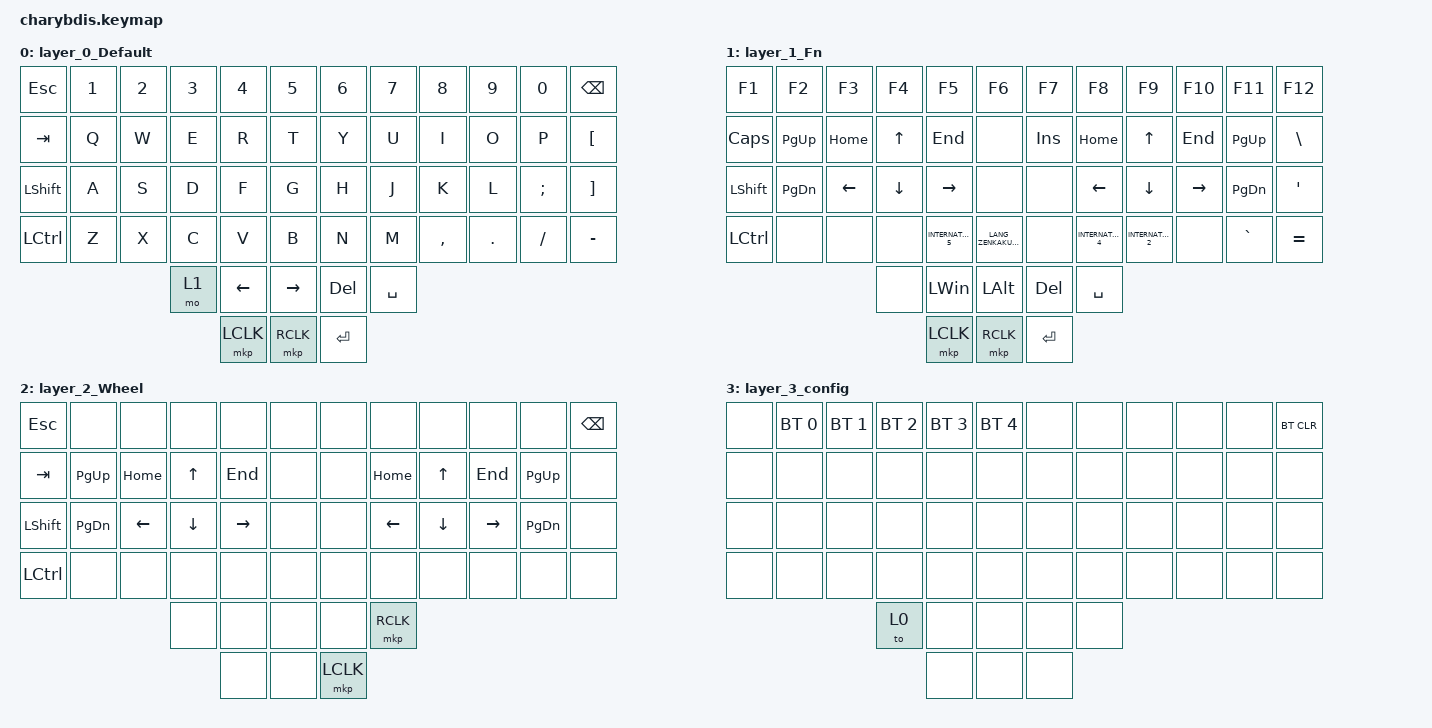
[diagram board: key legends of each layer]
#include <dt-bindings/zmk/mouse.h>
#include <behaviors.dtsi>
#include <dt-bindings/zmk/bt.h>
#include <dt-bindings/zmk/keys.h>
#include <dt-bindings/zmk/pointing.h>

&lt {
    tapping-term-ms = <200>;
    flavor = "balanced";
    quick-tap-ms = <150>;
};

/ {
    combos {
        compatible = "zmk,combos";

        delete {
            bindings = <&kp DELETE>;
            key-positions = <24 11>;
        };

        layer3 {
            bindings = <&tog 3>;
            key-positions = <48 49 50>;
        };

        layer0 {
            bindings = <&to 0>;
            key-positions = <51 52>;
        };
    };

    keymap {
        compatible = "zmk,keymap";

        layer_0_Default {
            bindings = <
&kp ESC         &kp N1  &kp N2  &kp N3  &kp N4     &kp N5       &kp N6      &kp N7     &kp N8     &kp N9      &kp N0    &kp BACKSPACE
&kp TAB         &kp Q   &kp W   &kp E   &kp R      &kp T        &kp Y       &kp U      &kp I      &kp O       &kp P     &kp LEFT_BRACKET
&kp LEFT_SHIFT  &kp A   &kp S   &kp D   &kp F      &kp G        &kp H       &kp J      &kp K      &kp L       &kp SEMI  &kp RIGHT_BRACKET
&kp LCTRL       &kp Z   &kp X   &kp C   &kp V      &kp B        &kp N       &kp M      &kp COMMA  &kp PERIOD  &kp FSLH  &kp MINUS
                                &mo 1   &kp LEFT   &kp RIGHT    &kp DELETE  &kp SPACE
                                        &mkp LCLK  &mkp RCLK    &kp ENTER
            >;

            trackball-bindings = <&tmv_coarse>;
        };

        layer_1_Fn {
            bindings = <
&kp F1          &kp F2         &kp F3          &kp F4          &kp F5               &kp F6                     &kp F7      &kp F8               &kp F9               &kp F10          &kp F11        &kp F12
&kp CAPS        &kp PAGE_UP    &kp HOME        &kp UP_ARROW    &kp END              &none                      &kp INSERT  &kp HOME             &kp UP_ARROW         &kp END          &kp PAGE_UP    &kp BACKSLASH
&kp LEFT_SHIFT  &kp PAGE_DOWN  &kp LEFT_ARROW  &kp DOWN_ARROW  &kp RIGHT_ARROW      &none                      &none       &kp LEFT_ARROW       &kp DOWN_ARROW       &kp RIGHT_ARROW  &kp PAGE_DOWN  &kp SINGLE_QUOTE
&kp LCTRL       &none          &none           &none           &kp INTERNATIONAL_5  &kp LANG_ZENKAKUHANKAKU    &none       &kp INTERNATIONAL_4  &kp INTERNATIONAL_2  &none            &kp GRAVE      &kp EQUAL
                                               &none           &kp LEFT_WIN         &kp LEFT_ALT               &kp DELETE  &kp SPACE
                                                               &mkp LCLK            &mkp RCLK                  &kp ENTER
            >;

            trackball-bindings = <&tsl>;
        };

        layer_2_Wheel {
            bindings = <
&kp ESCAPE        &none          &none           &none           &none            &none    &none      &none           &none           &none            &none          &kp BACKSPACE
&kp TAB           &kp PAGE_UP    &kp HOME        &kp UP_ARROW    &kp END          &none    &none      &kp HOME        &kp UP_ARROW    &kp END          &kp PAGE_UP    &none
&kp LEFT_SHIFT    &kp PAGE_DOWN  &kp LEFT_ARROW  &kp DOWN_ARROW  &kp RIGHT_ARROW  &none    &none      &kp LEFT_ARROW  &kp DOWN_ARROW  &kp RIGHT_ARROW  &kp PAGE_DOWN  &none
&kp LEFT_CONTROL  &none          &none           &none           &none            &none    &none      &none           &none           &none            &none          &none
                                                 &none           &none            &none    &none      &mkp RCLK
                                                                 &none            &none    &mkp LCLK
            >;

            trackball-bindings = <&tsl>;
        };

        layer_3_config {
            bindings = <
&none  &bt BT_SEL 0  &bt BT_SEL 1  &bt BT_SEL 2  &bt BT_SEL 3  &bt BT_SEL 4    &none  &none  &none  &none  &none  &bt BT_CLR
&none  &none         &none         &none         &none         &none           &none  &none  &none  &none  &none  &none
&none  &none         &none         &none         &none         &none           &none  &none  &none  &none  &none  &none
&none  &none         &none         &none         &none         &none           &none  &none  &none  &none  &none  &none
                                   &to 0         &none         &none           &none  &none
                                                 &none         &none           &none
            >;
        };

        /* layer_2 {
            bindings = <
&none  &none   &none    &none   &none         &none         &kp N1         &none         &none     &none  &none   &to 0
&none  &none   &none    &none   &none         &none         &none         &none          &rgb_ug RGB_BRD &rgb_ug RGB_BRI  &rgb_ug RGB_EFF   &rgb_ug RGB_TOG
&none  &none   &none    &none   &none         &none         &none         &mkp LCLK     &mkp RCLK  &none  &none   &none
&none  &none   &none    &none   &bt BT_NXT  &bt BT_CLR    &none         &none         &none     &none  &none   &none
                                   &none         &none         &none         &none         &none
                                                 &none         &none         &none
            >;
          trackball-bindings = <&tsl>;
            
        };

       Mouse {
            bindings = <
&none        &none         &none         &none         &none      &none         &none       &none      &none         &none         &none         &none
&none        &bt BT_SEL 0  &bt BT_SEL 1  &bt BT_SEL 3  &none      &bt BT_CLR    &bt BT_CLR  &none      &bt BT_SEL 2  &bt BT_SEL 1  &bt BT_SEL 0  &none
&none        &trans        &trans        &mkp MCLK     &trans     &none         &none       &trans     &mkp MCLK     &trans        &trans        &none
&bootloader  &trans        &mkp RCLK     &mo 4         &mkp LCLK  &mo 5         &mo 5       &mkp LCLK  &mo 4         &mkp RCLK     &trans        &bootloader
                                         &mo 5         &mkp LCLK  &mkp RCLK     &mkp RCLK   &mkp LCLK
                                                       &none      &trans        &trans
            >;

            
        };

        layer_4 {
            bindings = <
&trans  &trans  &trans     &trans     &trans     &trans       &trans     &trans     &trans     &trans     &trans  &trans
&trans  &trans  &trans     &trans     &trans     &trans       &trans     &trans     &trans     &trans     &trans  &trans
&trans  &trans  &trans     &mkp MCLK  &trans     &trans       &trans     &trans     &mkp MCLK  &trans     &trans  &trans
&trans  &trans  &mkp RCLK  &trans     &mkp LCLK  &trans       &trans     &mkp LCLK  &trans     &mkp RCLK  &trans  &trans
                           &trans     &mkp LCLK  &mkp RCLK    &mkp RCLK  &mkp LCLK
                                      &trans     &trans       &trans
            >;
                
                
                trackball-bindings = <&tsl>;
        };

        layer_5 {
            bindings = <
&trans  &trans  &trans     &trans     &trans     &trans       &trans     &trans     &trans     &trans     &trans  &trans
&trans  &trans  &trans     &trans     &trans     &trans       &trans     &trans     &trans     &trans     &trans  &trans
&trans  &trans  &trans     &mkp MCLK  &trans     &trans       &trans     &trans     &mkp MCLK  &trans     &trans  &trans
&trans  &trans  &mkp RCLK  &trans     &mkp LCLK  &trans       &trans     &mkp LCLK  &trans     &mkp RCLK  &trans  &trans
                           &trans     &mkp LCLK  &mkp RCLK    &mkp RCLK  &mkp LCLK
                                      &trans     &trans       &trans
            >;
                trackball-bindings = <&tmv_fine>;
                
        };*/
    };
};
